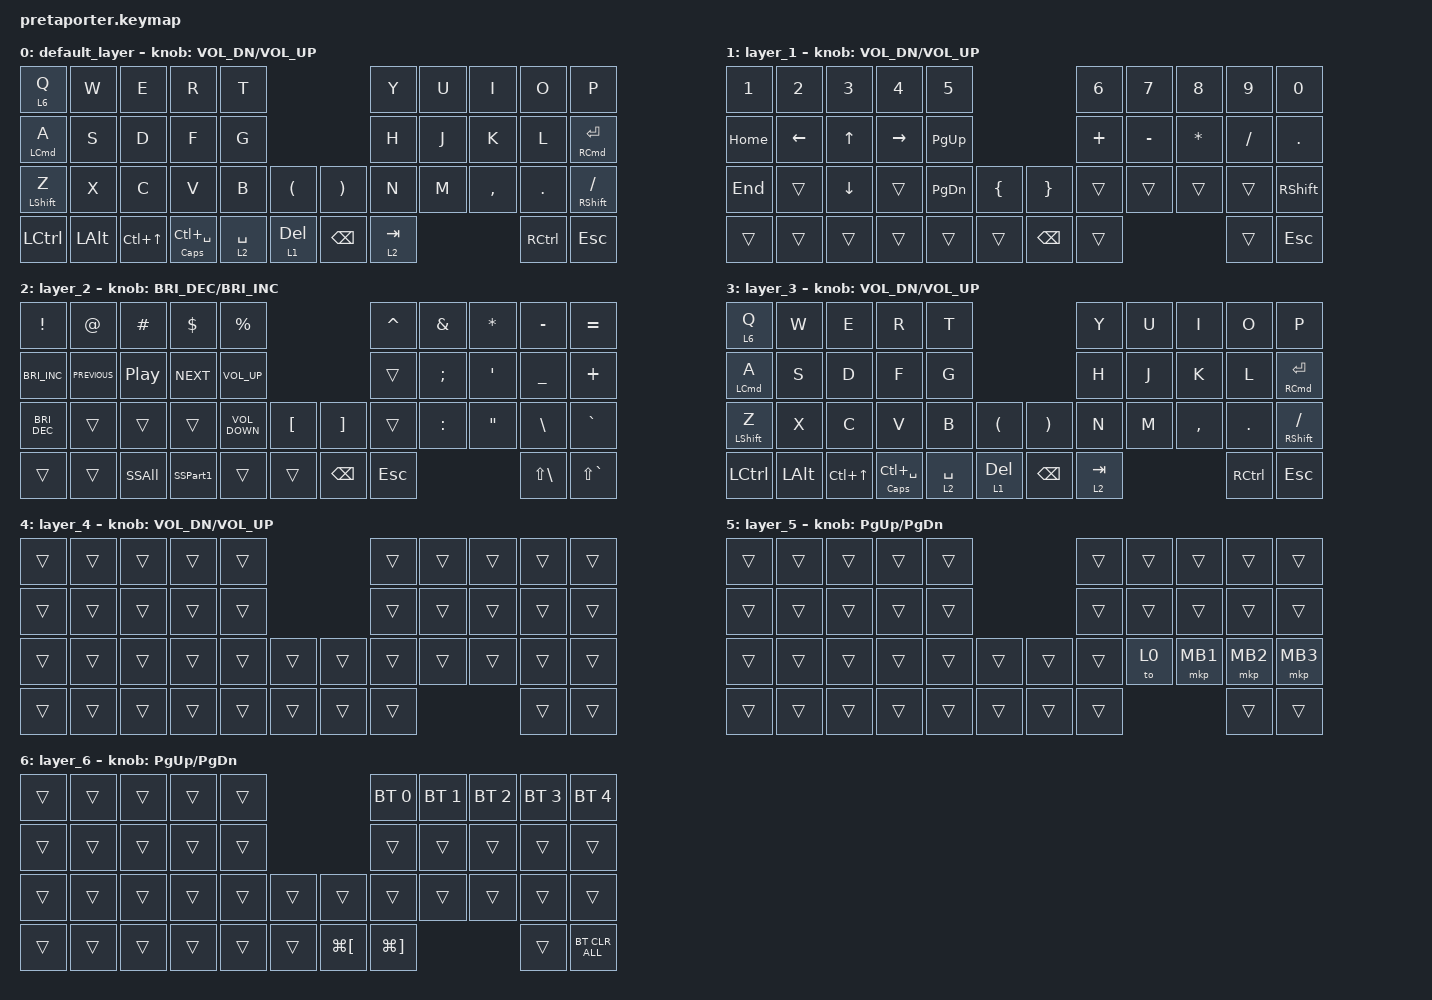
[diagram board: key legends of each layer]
#include <behaviors.dtsi>
#include <dt-bindings/zmk/bt.h>
#include <dt-bindings/zmk/keys.h>
#include <dt-bindings/zmk/pointing.h>

#define ZMK_POINTING_DEFAULT_SCRL_VAL 100
#define MOUSE 5
#define SCROLL 6

&mt {
    flavor = "balanced";
    quick-tap-ms = <0>;
};

/ {
    combos {
        compatible = "zmk,combos";

        mo6 {
            bindings = <&mo 6>;
            key-positions = <17 18>;
        };
    };

    macros {
        lang: lang {
            compatible = "zmk,behavior-macro";
            #binding-cells = <0>;
            bindings = <&sk LEFT_CONTROL &kp SPACE>;
            label = "LANG";
        };

        MissCon: MissCon {
            compatible = "zmk,behavior-macro";
            #binding-cells = <0>;
            bindings = <&sk LEFT_CONTROL &kp UP_ARROW>;
            label = "MISSCON";
        };

        SSAll: SSAll {
            compatible = "zmk,behavior-macro";
            #binding-cells = <0>;
            bindings = <&sk LEFT_SHIFT &sk LEFT_COMMAND &kp NUMBER_3>;
            label = "SSALL";
        };

        SSPart1: SSPart {
            compatible = "zmk,behavior-macro";
            #binding-cells = <0>;
            bindings = <&sk LEFT_SHIFT &sk LEFT_COMMAND &kp NUMBER_4>;
            label = "SSPART";
        };
    };

    behaviors {
        input: input {
            compatible = "zmk,behavior-hold-tap";
            label = "INPUT";
            bindings = <&kp>, <&lang>;

            #binding-cells = <2>;
            tapping-term-ms = <200>;
        };
    };

    keymap {
        compatible = "zmk,keymap";

        default_layer {
            bindings = <
&lt 6 Q             &kp W         &kp E             &kp R                   &kp T                                                       &kp Y      &kp U  &kp I      &kp O              &kp P
&mt LEFT_COMMAND A  &kp S         &kp D             &kp F                   &kp G                                                       &kp H      &kp J  &kp K      &kp L              &mt RIGHT_COMMAND ENTER
&mt LEFT_SHIFT Z    &kp X         &kp C             &kp V                   &kp B        &kp LEFT_PARENTHESIS    &kp RIGHT_PARENTHESIS  &kp N      &kp M  &kp COMMA  &kp DOT            &mt RSHFT FSLH
&kp LEFT_CONTROL    &kp LEFT_ALT  &kp LC(UP_ARROW)  &mt CAPSLOCK LC(SPACE)  &lt 2 SPACE  &lt 1 DELETE            &kp BACKSPACE          &lt 2 TAB                    &kp RIGHT_CONTROL  &kp ESC
            >;

            sensor-bindings = <&inc_dec_kp C_VOL_DN C_VOL_UP>;
        };

        layer_1 {
            bindings = <
&kp N1    &kp N2    &kp N3          &kp N4     &kp N5                                            &kp N6    &kp N7     &kp N8        &kp N9     &kp N0
&kp HOME  &kp LEFT  &kp UP_ARROW    &kp RIGHT  &kp PAGE_UP                                       &kp PLUS  &kp MINUS  &kp ASTERISK  &kp SLASH  &kp PERIOD
&kp END   &trans    &kp DOWN_ARROW  &trans     &kp PAGE_DOWN  &kp LEFT_BRACE    &kp RIGHT_BRACE  &trans    &trans     &trans        &trans     &kp RSHFT
&trans    &trans    &trans          &trans     &trans         &trans            &kp BACKSPACE    &trans                             &trans     &kp ESCAPE
            >;

            sensor-bindings = <&inc_dec_kp C_VOL_DN C_VOL_UP>;
        };

        layer_2 {
            bindings = <
&kp EXCLAMATION       &kp AT_SIGN     &kp HASH          &kp DOLLAR  &kp PERCENT                                   &kp CARET  &kp AMPERSAND  &kp ASTERISK       &kp MINUS       &kp EQUAL
&kp C_BRIGHTNESS_INC  &kp C_PREVIOUS  &kp C_PLAY_PAUSE  &kp C_NEXT  &kp C_VOLUME_UP                               &trans     &kp SEMI       &kp APOS           &kp UNDERSCORE  &kp PLUS
&kp C_BRIGHTNESS_DEC  &trans          &trans            &trans      &kp C_VOLUME_DOWN  &kp LBKT    &kp RBKT       &trans     &kp COLON      &kp DOUBLE_QUOTES  &kp BSLH        &kp GRAVE
&trans                &trans          &SSAll            &SSPart1    &trans             &trans      &kp BACKSPACE  &kp ESC                                      &kp LS(BSLH)    &kp LS(GRAVE)
            >;

            sensor-bindings = <&inc_dec_kp C_BRIGHTNESS_DEC C_BRIGHTNESS_INC>;
        };

        layer_3 {
            bindings = <
&lt 6 Q             &kp W         &kp E             &kp R                   &kp T                                                       &kp Y      &kp U  &kp I      &kp O              &kp P
&mt LEFT_COMMAND A  &kp S         &kp D             &kp F                   &kp G                                                       &kp H      &kp J  &kp K      &kp L              &mt RIGHT_COMMAND ENTER
&mt LEFT_SHIFT Z    &kp X         &kp C             &kp V                   &kp B        &kp LEFT_PARENTHESIS    &kp RIGHT_PARENTHESIS  &kp N      &kp M  &kp COMMA  &kp DOT            &mt RSHFT FSLH
&kp LEFT_CONTROL    &kp LEFT_ALT  &kp LC(UP_ARROW)  &mt CAPSLOCK LC(SPACE)  &lt 2 SPACE  &lt 1 DELETE            &kp BACKSPACE          &lt 2 TAB                    &kp RIGHT_CONTROL  &kp ESC
            >;

            sensor-bindings = <&inc_dec_kp C_VOL_DN C_VOL_UP>;
        };

        layer_4 {
            bindings = <
&trans  &trans  &trans  &trans  &trans                    &trans  &trans  &trans  &trans  &trans
&trans  &trans  &trans  &trans  &trans                    &trans  &trans  &trans  &trans  &trans
&trans  &trans  &trans  &trans  &trans  &trans    &trans  &trans  &trans  &trans  &trans  &trans
&trans  &trans  &trans  &trans  &trans  &trans    &trans  &trans                  &trans  &trans
            >;

            sensor-bindings = <&inc_dec_kp C_VOL_DN C_VOL_UP>;
        };

        layer_5 {
            bindings = <
&trans  &trans  &trans  &trans  &trans                    &trans  &trans  &trans    &trans    &trans
&trans  &trans  &trans  &trans  &trans                    &trans  &trans  &trans    &trans    &trans
&trans  &trans  &trans  &trans  &trans  &trans    &trans  &trans  &to 0   &mkp MB1  &mkp MB2  &mkp MB3
&trans  &trans  &trans  &trans  &trans  &trans    &trans  &trans                    &trans    &trans
            >;

            sensor-bindings = <&inc_dec_kp PAGE_UP PAGE_DOWN>;
        };

        layer_6 {
            bindings = <
&trans  &trans  &trans  &trans  &trans                                  &bt BT_SEL 0           &bt BT_SEL 1  &bt BT_SEL 2  &bt BT_SEL 3  &bt BT_SEL 4
&trans  &trans  &trans  &trans  &trans                                  &trans                 &trans        &trans        &trans        &trans
&trans  &trans  &trans  &trans  &trans  &trans    &trans                &trans                 &trans        &trans        &trans        &trans
&trans  &trans  &trans  &trans  &trans  &trans    &kp LG(LEFT_BRACKET)  &kp LG(RIGHT_BRACKET)                              &trans        &bt BT_CLR_ALL
            >;

            sensor-bindings = <&inc_dec_kp PAGE_UP PAGE_DOWN>;
        };
    };
};
